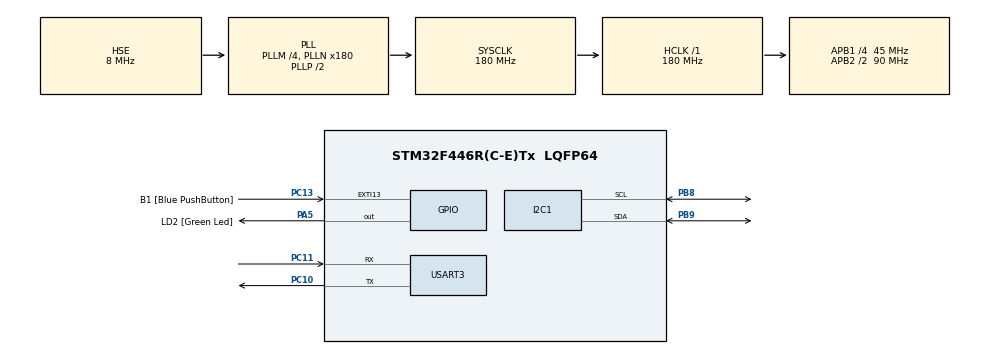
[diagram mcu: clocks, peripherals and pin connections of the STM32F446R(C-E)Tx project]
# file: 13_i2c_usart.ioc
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I2C1.I2C_Mode=I2C_Fast
Mcu.Family=STM32F4
Mcu.Name=STM32F446R(C-E)Tx
Mcu.Package=LQFP64
NVIC.PriorityGroup=NVIC_PRIORITYGROUP_0
PA13.GPIO_Label=TMS
PA13.Mode=Serial_Wire
PA13.Signal=SYS_JTMS-SWDIO
PA14.GPIO_Label=TCK
PA14.Mode=Serial_Wire
PA14.Signal=SYS_JTCK-SWCLK
PA2.GPIO_Label=USART_TX
PA2.Signal=USART2_TX
PA3.GPIO_Label=USART_RX
PA3.Signal=USART2_RX
PA5.GPIO_Label=LD2 [Green Led]
PA5.Signal=GPIO_Output
PB3.GPIO_Label=SWO
PB3.Signal=SYS_JTDO-SWO
PB8.Mode=I2C
PB8.Signal=I2C1_SCL
PB9.Mode=I2C
PB9.Signal=I2C1_SDA
PC10.Mode=Asynchronous
PC10.Signal=USART3_TX
PC11.Mode=Asynchronous
PC11.Signal=USART3_RX
PC13.GPIO_Label=B1 [Blue PushButton]
PC13.GPIO_ModeDefaultEXTI=GPIO_MODE_EVT_RISING
PC13.Signal=GPXTI13
PC14-OSC32_IN.Signal=RCC_OSC32_IN
PC15-OSC32_OUT.Signal=RCC_OSC32_OUT
PH0-OSC_IN.Mode=HSE-External-Clock-Source
PH0-OSC_IN.Signal=RCC_OSC_IN
PH1-OSC_OUT.Mode=HSE-External-Clock-Source
PH1-OSC_OUT.Signal=RCC_OSC_OUT
ProjectManager.HeapSize=0x200
ProjectManager.StackSize=0x400
ProjectManager.TargetToolchain=SW4STM32
RCC.AHBFreq_Value=180000000
RCC.APB1CLKDivider=RCC_HCLK_DIV4
RCC.APB1Freq_Value=45000000
RCC.APB1TimFreq_Value=90000000
RCC.APB2CLKDivider=RCC_HCLK_DIV2
RCC.APB2Freq_Value=90000000
RCC.APB2TimFreq_Value=180000000
RCC.CortexFreq_Value=180000000
RCC.FLatency-AdvancedSettings=FLASH_LATENCY_5
RCC.HCLKFreq_Value=180000000
RCC.HSE_VALUE=8000000
RCC.HSI_VALUE=16000000
RCC.LSE_VALUE=32768
RCC.PLLM=4
RCC.PLLN=180
RCC.PLLSourceVirtual=RCC_PLLSOURCE_HSE
RCC.SYSCLKFreq_VALUE=180000000
RCC.SYSCLKSource=RCC_SYSCLKSOURCE_PLLCLK
RCC.USBFreq_Value=180000000
RCC.VCOOutputFreq_Value=360000000
board=NUCLEO-F446RE

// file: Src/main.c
/**
  ******************************************************************************
  * File Name          : main.c
  * Description        : Main program body
  ******************************************************************************
  *
  * COPYRIGHT(c) 2016 STMicroelectronics
  *
  * Redistribution and use in source and binary forms, with or without modification,
  * are permitted provided that the following conditions are met:
  *   1. Redistributions of source code must retain the above copyright notice,
  *      this list of conditions and the following disclaimer.
  *   2. Redistributions in binary form must reproduce the above copyright notice,
  *      this list of conditions and the following disclaimer in the documentation
  *      and/or other materials provided with the distribution.
  *   3. Neither the name of STMicroelectronics nor the names of its contributors
  *      may be used to endorse or promote products derived from this software
  *      without specific prior written permission.
  *
  * THIS SOFTWARE IS PROVIDED BY THE COPYRIGHT HOLDERS AND CONTRIBUTORS "AS IS"
  * AND ANY EXPRESS OR IMPLIED WARRANTIES, INCLUDING, BUT NOT LIMITED TO, THE
  * IMPLIED WARRANTIES OF MERCHANTABILITY AND FITNESS FOR A PARTICULAR PURPOSE ARE
  * DISCLAIMED. IN NO EVENT SHALL THE COPYRIGHT HOLDER OR CONTRIBUTORS BE LIABLE
  * FOR ANY DIRECT, INDIRECT, INCIDENTAL, SPECIAL, EXEMPLARY, OR CONSEQUENTIAL
  * DAMAGES (INCLUDING, BUT NOT LIMITED TO, PROCUREMENT OF SUBSTITUTE GOODS OR
  * SERVICES; LOSS OF USE, DATA, OR PROFITS; OR BUSINESS INTERRUPTION) HOWEVER
  * CAUSED AND ON ANY THEORY OF LIABILITY, WHETHER IN CONTRACT, STRICT LIABILITY,
  * OR TORT (INCLUDING NEGLIGENCE OR OTHERWISE) ARISING IN ANY WAY OUT OF THE USE
  * OF THIS SOFTWARE, EVEN IF ADVISED OF THE POSSIBILITY OF SUCH DAMAGE.
  *
  ******************************************************************************
  */
#include "main.h"
#include "stm32f4xx_hal.h"
#include "i2c.h"
#include "usart.h"
#include "gpio.h"

/* USER CODE BEGIN Includes */
#include "lcd.h"
#include "bmp280.h"
#include "MPU9250.h"
#include "MadgwickAHRS.h"
#include "snake.h"

#define abs(x)  (x < 0) ? -x : x
#define max(x, y)  x > y ? x : y
/* USER CODE END Includes */

/* USER CODE BEGIN PV */
double temp, press, alt;
int8_t com_rslt;
float ax, ay, az;
float gx, gy, gz;
float mx, my, mz;

uint32_t lastTime, currentTime, drawTime;

volatile Direction current_direction = BOTTOM;
/* Private variables ---------------------------------------------------------*/

/* USER CODE END PV */

void SystemClock_Config(void);
void Error_Handler(void);

/* USER CODE BEGIN PFP */
/* Private function prototypes -----------------------------------------------*/
void set_direction(float ax, float ay);
/* USER CODE END PFP */

/* USER CODE BEGIN 0 */
void I2C_ScanBus(void);
/* USER CODE END 0 */

int main(void)
{

  /* USER CODE BEGIN 1 */
    SnakePoint *SnakeHead = NULL;
    SnakePoint *SnakeTail = NULL;

    SnakePoint *tmp_snake = NULL;

    uint32_t next_render_tick = 0;
  /* USER CODE END 1 */

  /* MCU Configuration----------------------------------------------------------*/

  /* Reset of all peripherals, Initializes the Flash interface and the Systick. */
  HAL_Init();

  /* Configure the system clock */
  SystemClock_Config();

  /* Initialize all configured peripherals */
  MX_GPIO_Init();
  MX_I2C1_Init();
  MX_USART3_UART_Init();

  /* USER CODE BEGIN 2 */
  LCD_Init();
  /* USER CODE END 2 */

  /* Infinite loop */
  /* USER CODE BEGIN WHILE */
  I2Cdev_init(&hi2c1);

  I2C_ScanBus();
  LCD_Printf("Connecting to BMP280...\n");
  bmp280_t bmp280;
  com_rslt = BMP280_init(&bmp280);
  com_rslt += BMP280_set_power_mode(BMP280_NORMAL_MODE);
  if (com_rslt != SUCCESS) {
    LCD_Printf("1Check BMP280 connection!\nProgram terminated");
    return 0;
  }
  com_rslt += BMP280_set_work_mode(BMP280_STANDARD_RESOLUTION_MODE);
  if (com_rslt != SUCCESS) {
    LCD_Printf("2Check BMP280 connection!\nProgram terminated");
    return 0;
  }
  com_rslt += BMP280_set_standby_durn(BMP280_STANDBY_TIME_1_MS);
  if (com_rslt != SUCCESS) {
    LCD_Printf("3Check BMP280 connection!\nProgram terminated");
    return 0;
  }
  LCD_Printf("Connection successful!\n");

  LCD_Printf("Connecting to MPU9250...\n");
  while(!MPU9250_testConnection());
  MPU9250_initialize();
  MPU9250_setFullScaleGyroRange(MPU9250_GYRO_FS_1000); // 1000 град/сек
  MPU9250_setFullScaleAccelRange(MPU9250_ACCEL_FS_4); // 4g
  LCD_Printf("Connection successful!\n\n");

  Madgwick_init();

  lastTime = drawTime = HAL_GetTick();

  SNAKE_init(&SnakeHead, &SnakeTail, SNAKE_LEN, POINT_SIZE);

  tmp_snake = SnakeHead;
  while(tmp_snake != NULL) {
    drow_point(tmp_snake->position, SNAKE_COLOR);
    tmp_snake = tmp_snake->prev;
  }

  while (1)
  {
    BMP280_read_temperature_double(&temp);
    BMP280_read_pressure_double(&press);
    alt = BMP280_calculate_altitude(102900); // insert actual data here

    MPU9250_getMotion9Real(&ax, &ay, &az, &gx, &gy, &gz, &mx, &my, &mz);

    currentTime = HAL_GetTick();
    Madgwick_update(gx, gy, gz, ax, ay, az, mx, my, mz, (currentTime - lastTime)/1000.0);
    lastTime = currentTime;

    if (HAL_GetTick() - drawTime > 20) {
      LCD_SetCursor(0, 64);
      LCD_Printf("T: %6.2f C  P: %6.0f Pa  A: %3.0f m\n", temp, press, alt);
      LCD_Printf("Accel:   %7.4f %7.4f %7.4f\n", ax, ay, az);
      // LCD_Printf("Gyro:    %7.4f %7.4f %7.4f\n", gx, gy, gz);
      // LCD_Printf("Compass: %7.1f %7.1f %7.1f\n\n", mx, my, mz);
      // LCD_Printf("Madgwick: P: %5.1f R: %5.1f Y: %5.1f\n", Madgwick_getPitch(), Madgwick_getRoll(), Madgwick_getYaw());
      drawTime = HAL_GetTick();
    }

    if (next_render_tick < currentTime) {
      set_direction(ax, ay);

      next_render_tick = currentTime + TPF;
      SNAKE_add_point(&SnakeHead, &SnakeTail, current_direction, POINT_SIZE);
      drow_point(SnakeTail->position, BG_COLOR);
      SNAKE_remove_last_point(&SnakeTail);

      drow_point(SnakeHead->position, SNAKE_COLOR);
    }
  /* USER CODE END WHILE */

  }

}

/** System Clock Configuration
*/
void SystemClock_Config(void)
{

  RCC_OscInitTypeDef RCC_OscInitStruct;
  RCC_ClkInitTypeDef RCC_ClkInitStruct;

    /**Configure the main internal regulator output voltage
    */
  __HAL_RCC_PWR_CLK_ENABLE();

  __HAL_PWR_VOLTAGESCALING_CONFIG(PWR_REGULATOR_VOLTAGE_SCALE1);

    /**Initializes the CPU, AHB and APB busses clocks
    */
  RCC_OscInitStruct.OscillatorType = RCC_OSCILLATORTYPE_HSE;
  RCC_OscInitStruct.HSEState = RCC_HSE_BYPASS;
  RCC_OscInitStruct.PLL.PLLState = RCC_PLL_ON;
  RCC_OscInitStruct.PLL.PLLSource = RCC_PLLSOURCE_HSE;
  RCC_OscInitStruct.PLL.PLLM = 4;
  RCC_OscInitStruct.PLL.PLLN = 180;
  RCC_OscInitStruct.PLL.PLLP = RCC_PLLP_DIV2;
  RCC_OscInitStruct.PLL.PLLQ = 2;
  RCC_OscInitStruct.PLL.PLLR = 2;
  if (HAL_RCC_OscConfig(&RCC_OscInitStruct) != HAL_OK)
  {
    Error_Handler();
  }

    /**Activate the Over-Drive mode
    */
  if (HAL_PWREx_EnableOverDrive() != HAL_OK)
  {
    Error_Handler();
  }

    /**Initializes the CPU, AHB and APB busses clocks
    */
  RCC_ClkInitStruct.ClockType = RCC_CLOCKTYPE_HCLK|RCC_CLOCKTYPE_SYSCLK
                              |RCC_CLOCKTYPE_PCLK1|RCC_CLOCKTYPE_PCLK2;
  RCC_ClkInitStruct.SYSCLKSource = RCC_SYSCLKSOURCE_PLLCLK;
  RCC_ClkInitStruct.AHBCLKDivider = RCC_SYSCLK_DIV1;
  RCC_ClkInitStruct.APB1CLKDivider = RCC_HCLK_DIV4;
  RCC_ClkInitStruct.APB2CLKDivider = RCC_HCLK_DIV2;

  if (HAL_RCC_ClockConfig(&RCC_ClkInitStruct, FLASH_LATENCY_5) != HAL_OK)
  {
    Error_Handler();
  }

    /**Configure the Systick interrupt time
    */
  HAL_SYSTICK_Config(HAL_RCC_GetHCLKFreq()/1000);

    /**Configure the Systick
    */
  HAL_SYSTICK_CLKSourceConfig(SYSTICK_CLKSOURCE_HCLK);

  /* SysTick_IRQn interrupt configuration */
  HAL_NVIC_SetPriority(SysTick_IRQn, 0, 0);
}

/* USER CODE BEGIN 4 */
void I2C_ScanBus() {
  uint8_t i = 0;
  LCD_Printf("Scanning for I2C devices:\n");
  for (i = 0x07; i < 0x78; i++) {
    if (HAL_I2C_IsDeviceReady(&hi2c1, i << 1, 10, 100) == HAL_OK)
      LCD_Printf("Ready: 0x%02x\n", i);
  }
}

void set_direction(float ax, float ay) {
  float a_ax = abs(ax),
        a_ay = abs(ay),
        maxAbs = max(a_ax, a_ay);
  Direction new_direction;

  LCD_Printf("VALUES: %1.2f %1.2f %1.2f %1.2f %1.2f\n", ax, ay, a_ax, a_ay, maxAbs);
  if (maxAbs < 0.3) return;

  if (a_ax > a_ay) {
    if (ax > 0.0) {
      new_direction = RIGHT;
    }
    else {
      new_direction = LEFT;
    }
  }
  else {
    if (ay > 0.0) {
      new_direction = TOP;
    }
    else {
      new_direction = BOTTOM;
    }
  }
  if ((current_direction == TOP && new_direction == BOTTOM) ||
        (current_direction == BOTTOM && new_direction == TOP) ||
        (current_direction == RIGHT && new_direction == LEFT) ||
        (current_direction == LEFT && new_direction == RIGHT)) {
      return;
  }
  current_direction = new_direction;

}
/* USER CODE END 4 */

void Error_Handler(void)
{
  while(1)
  {
  }
}

/************************ (C) COPYRIGHT STMicroelectronics *****END OF FILE****/
